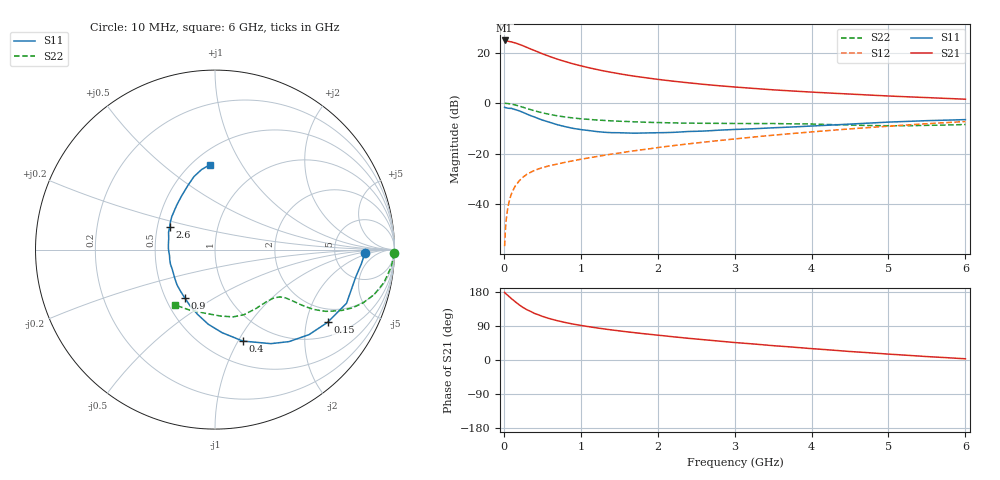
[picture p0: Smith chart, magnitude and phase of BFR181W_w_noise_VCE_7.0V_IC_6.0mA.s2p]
! Infineon Technologies  Discrete & RF Semiconductors
! BFR181W
! VCE =  7.0 V,  IC =  6.0 mA
! Common Emitter S-Parameters:  Jan 2017
# GHz  S  MA  R  50
!  f  S11  S21  S12  S22
! GHz  MAG  ANG  MAG  ANG  MAG  ANG  MAG  ANG
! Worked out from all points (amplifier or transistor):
!   77 points, 10 MHz to 6 GHz, reference 50 ohm
!   highest |S21| = 24.8 dB at 10 MHz (marker M1)
!   |S21| within 3 dB of that: start of sweep to 319.4 MHz
!   unconditionally stable (mu >= 1): 1.272 GHz to 3.298 GHz
!   at 130 MHz: K = 0.18, MSG = 28.9 dB, |S12| = -33.8 dB
!   at 2.2 GHz: K = 1.07, MAG = 11.1 dB, |S12| = -16.8 dB
!   at 6 GHz: K = 0.85, MSG = 4.4 dB, |S12| = -7.2 dB
!   lowest NFmin = 1.03 dB at 450 MHz
!   S11 on the Smith chart (normalised r, x): 10 MHz: 11, -1; 150 MHz: 1.46, -2.67; 400 MHz: 0.74, -1.05; 900 MHz: 0.63, -0.38; 2.6 GHz: 0.58, +0.16; 6 GHz: 0.61, +0.74
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0.01  0.8352 -1.4  17.35 178.4  0.0015 94.7  0.9972 -1.1
0.02  0.8187 -5.7  17.12 175.8  0.0031 96.1  0.9953 -2.1
0.04  0.8047 -9.2  16.91 172.4  0.0065 82.7  0.989 -4.4
0.1  0.7916 -22.2  16.25 161.6  0.0164 81.3  0.9587 -11.1
0.15  0.7466 -32.9  15.48 153.4  0.0233 73.7  0.9212 -15.8
0.2  0.7064 -42.1  14.55 145.5  0.0293 71.8  0.8767 -19.8
0.25  0.6578 -51.2  13.62 138.6  0.0346 66.0  0.8311 -23.0
0.3  0.6094 -59.3  12.64 132.7  0.0395 63.2  0.7842 -25.6
0.4  0.5328 -73.1  10.95 122.8  0.0472 59.4  0.7074 -29.1
0.5  0.4652 -85.0  9.482 115.2  0.0533 58.1  0.6458 -31.1
0.6  0.4175 -95.2  8.329 108.8  0.0586 57.7  0.5983 -32.2
0.7  0.3743 -104.9  7.379 103.5  0.063 57.8  0.5618 -32.8
0.8  0.3436 -113.7  6.632 98.9  0.0682 58.3  0.5333 -33.2
0.9  0.3184 -121.7  5.992 94.8  0.0731 58.5  0.5115 -33.6
1.1  0.2892 -136.9  5.039 88.1  0.0829 59.5  0.4797 -34.3
1.5  0.2611 -161.8  3.818 76.9  0.1036 61.6  0.4406 -36.9
2.1  0.2626 170.2  2.84 63.5  0.1389 62.9  0.4116 -43.9
2.6  0.2817 153.7  2.355 53.5  0.1701 62.4  0.4011 -51.8
3.1  0.3067 140.0  2.036 44.6  0.204 60.8  0.3969 -59.8
4.1  0.3602 119.5  1.627 28.6  0.2787 55.8  0.3838 -76.9
5.1  0.429 104.6  1.367 14.3  0.3595 48.2  0.3584 -101.4
6  0.4741 93.3  1.2 3.2  0.4345 40.0  0.3803 -125.7
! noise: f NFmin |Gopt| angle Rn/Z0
0.45  1.03  0.28  16  0.22
0.9  1.07  0.26  30  0.22
1.9  1.49  0.12  82  0.19
2.4  1.65  0.1  95  0.23
